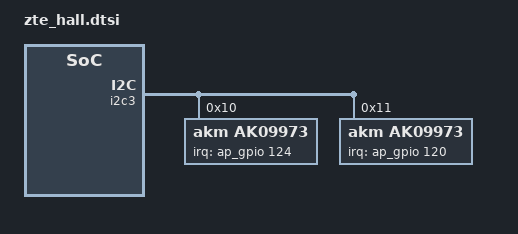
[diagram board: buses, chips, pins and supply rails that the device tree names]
&i2c3 {
	status = "okay";
	ak09973@10 {
		compatible = "akm,ak09973";
		reg = <0x10>;
		status = "okay";
		ak09973,irq-gpio = <&ap_gpio 124 0>;

		ak09973,mode = <6>;
		ak09973,DRDY_event = <0>;
		ak09973,SW_event = <0 0 0 1>;
		ak09973,ERR_event = <0>;
		ak09973,POL_setting = <0 0 0 0 >;
		ak09973,SDR_setting = <1>;
		ak09973,SMR_setting = <0>;
	};

	ak09973@11 {
		compatible = "akm,ak09973";
		reg = <0x11>;
		status = "okay";
		ak09973,irq-gpio = <&ap_gpio 120 0>;

		ak09973,mode = <6>;
		ak09973,DRDY_event = <0>;
		ak09973,SW_event = <0 0 0 1>;
		ak09973,ERR_event = <0>;
		ak09973,POL_setting = <0 0 0 0 >;
		ak09973,SDR_setting = <1>;
		ak09973,SMR_setting = <0>;
	};
};
